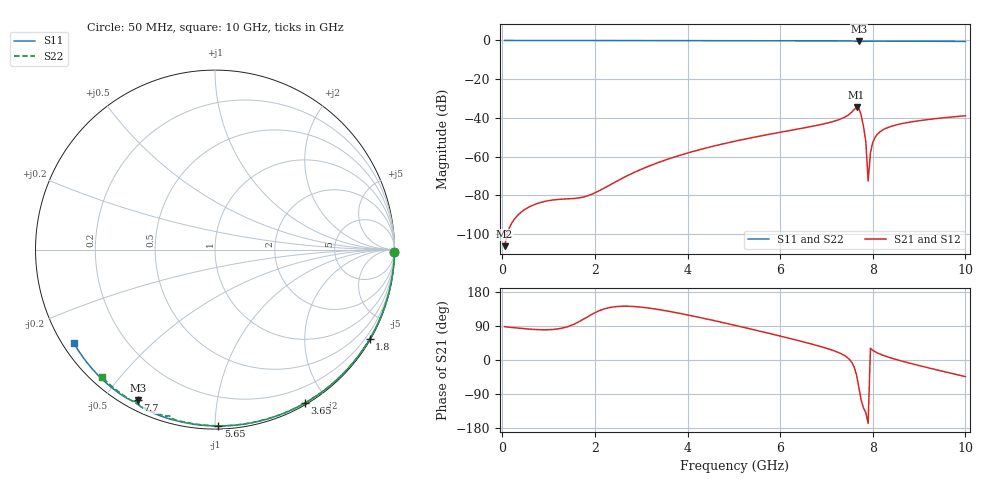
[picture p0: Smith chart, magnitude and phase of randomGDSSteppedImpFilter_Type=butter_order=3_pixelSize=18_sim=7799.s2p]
! freq	dB(S11)	phase(S11)	dB(S12)	phase(S12)
!  dB(S21)	phase(S21)	dB(S22)	phase(S22)
!S-par simulation data
#  GHz  S  DB  R 50
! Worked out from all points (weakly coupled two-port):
!   200 points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, 50 MHz to 10 GHz, reference 50 ohm
!   highest |S21| = -34.49 dB at 7.65 GHz (marker M1); lowest = -106.2 dB at 50 MHz (marker M2)
!   lowest |S11| = -0.5 dB at 7.7 GHz (marker M3), VSWR 32.73, Z = 2.1 - j30.5 ohm
!   |S11| at or under -10 dB: nowhere
!   |S22| runs from -0.5 to 0.0 dB; largest |S21 - S12| = 0
!   S11 on the Smith chart (normalised r, x): 50 MHz: open; 1.8 GHz: 0.03, -3.71; 3.65 GHz: 0.02, -1.75; 5.65 GHz: 0.02, -1.02; 7.7 GHz: 0.04, -0.61; 10 GHz: 0.03, -0.30
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0.05  -0.00 -0.9  -106.23 88.2  -106.23 88.2  -0.00 -0.8
1.75  -0.04 -29.3  -80.87 107.5  -80.87 107.5  -0.03 -26.2
1.8  -0.04 -30.1  -80.54 111.1  -80.54 111.1  -0.03 -26.9
2  -0.04 -33.4  -78.71 124.8  -78.71 124.8  -0.04 -29.8
3.4  -0.07 -55.7  -62.77 132.7  -62.77 132.7  -0.07 -49.9
3.65  -0.08 -59.5  -60.71 127.3  -60.71 127.3  -0.07 -53.3
5.05  -0.12 -80.4  -51.90 90.8  -51.90 90.8  -0.11 -72.2
5.65  -0.15 -88.9  -48.99 73.5  -48.99 73.5  -0.13 -79.9
6.7  -0.20 -103.5  -44.31 41.5  -44.31 41.5  -0.18 -93.1
7.35  -0.24 -112.4  -40.10 14.5  -40.10 14.5  -0.21 -101.0
7.65  -0.42 -117.1  -34.49 -40.0  -34.49 -40.0  -0.30 -104.9
7.7  -0.53 -117.1  -34.91 -73.2  -34.91 -73.2  -0.35 -105.3
7.75  -0.49 -116.9  -38.63 -106.0  -38.63 -106.0  -0.34 -105.5
7.8  -0.42 -117.3  -44.44 -126.7  -44.44 -126.7  -0.31 -105.9
7.85  -0.37 -118.0  -52.25 -139.3  -52.25 -139.3  -0.30 -106.5
7.9  -0.35 -118.7  -72.66 -167.4  -72.66 -167.4  -0.29 -107.1
7.95  -0.34 -119.5  -57.93 30.8  -57.93 30.8  -0.28 -107.8
8  -0.33 -120.2  -52.63 25.6  -52.63 25.6  -0.28 -108.4
8.15  -0.33 -122.2  -47.31 15.9  -47.31 15.9  -0.29 -110.2
8.35  -0.34 -124.9  -44.75 7.1  -44.75 7.1  -0.30 -112.5
8.95  -0.39 -132.7  -41.61 -13.1  -41.61 -13.1  -0.34 -119.4
10  -0.51 -146.3  -38.88 -43.8  -38.88 -43.8  -0.45 -131.4
